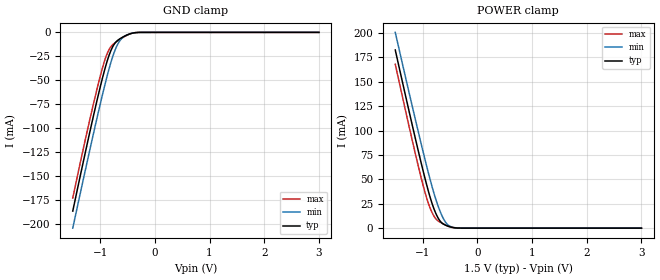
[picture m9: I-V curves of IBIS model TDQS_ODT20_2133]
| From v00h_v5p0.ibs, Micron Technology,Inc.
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| MODEL TDQS_ODT20_2133 (TDQS Terminator Model with 20ohm ODT, 2133Mbps)
[Model]   TDQS_ODT20_2133
Model_type   Terminator
|   typ   min   max
|C_comp   0.955pF   0.842pF   1.103pF
C_comp_power_clamp   0.4775pF   0.4210pF   0.5515pF
C_comp_gnd_clamp   0.4775pF   0.4210pF   0.5515pF
| Note: C_comp changes when the ODT circuit is enabled.
[Voltage Range]   1.5000V   1.4250V   1.5750V
| Junction Temperature (Ambient temp is 35C typ, 95C min, 0C max)
[Temperature Range]   50.0   110.0   0.0
[Add Submodel]
| Submodel Name   Mode
20ohm_ODT_2133   Non-Driving
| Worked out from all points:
|   GND clamp passes 1 mA (typ) near -0.42 V on its own axis
|   POWER clamp passes 1 mA (typ) near -0.48 V on its own axis
[GND Clamp]
|   Voltage   I(typ)   I(min)   I(max)
-1.5V     -186.2mA   -204mA     -172.6mA
-1.315V   -136.9mA   -155.3mA   -123.3mA
-1.16V    -96.67mA   -115.3mA   -83.85mA
-1.015V   -60.95mA   -78.97mA   -49.54mA
-920mV    -39.66mA   -56.35mA   -29.97mA
-845mV    -25.38mA   -39.76mA   -18.86mA
-765mV    -14.51mA   -24.46mA   -12.61mA
-675mV    -8.152mA   -12.06mA   -8.737mA
-580mV    -4.745mA   -5.106mA   -5.244mA
-455mV    -1.57mA    -1.548mA   -1.644mA
-295mV    -67.34uA   -100.2uA   -44.89uA
3V        0A         0A         0A
[POWER Clamp]
|   Voltage   I(typ)   I(min)   I(max)
-1.5V     182.5mA    200.6mA    168mA
-1.115V   87.65mA    107.2mA    72.03mA
-1V       60.77mA    80.32mA    45.8mA
-910mV    41.06mA    60.06mA    28.01mA
-815mV    23.25mA    40.09mA    14.52mA
-725mV    11.22mA    23.9mA     7.788mA
-675mV    6.927mA    16.47mA    5.908mA
-625mV    4.412mA    10.26mA    4.353mA
-535mV    1.985mA    3.233mA    2.027mA
-440mV    574.7uA    785.3uA    506.5uA
-280mV    17.5uA     38.6uA     7.717uA
3V        0A         0A         0A
